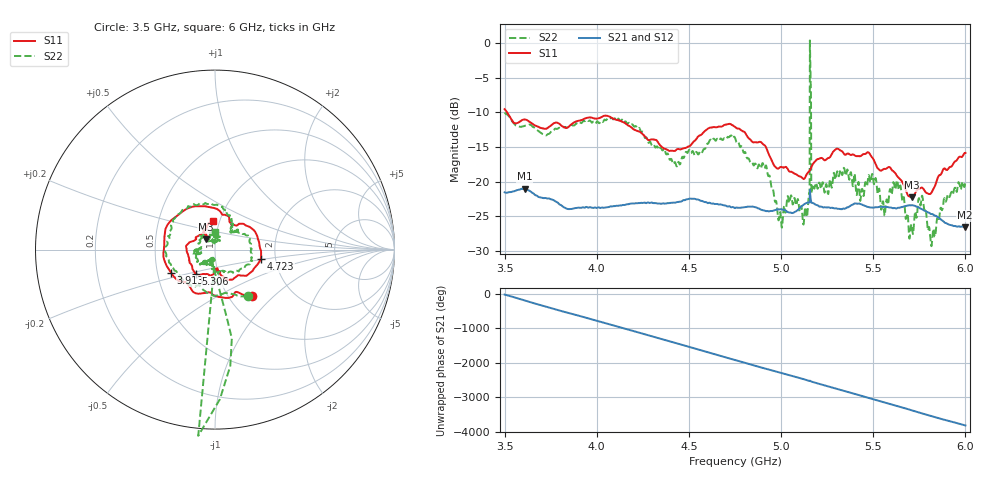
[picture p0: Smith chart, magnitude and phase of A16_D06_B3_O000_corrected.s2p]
! Created with skrf 1.9.0 (http://scikit-rf.org).
# Hz S RI R 50.0
!freq ReS11 ImS11 ReS21 ImS21 ReS12 ImS12 ReS22 ImS22
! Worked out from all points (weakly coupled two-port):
!   1601 points, 3.5 GHz to 6 GHz, reference 50 ohm
!   highest |S21| = -21.04 dB at 3.609 GHz (marker M1); lowest = -26.6 dB at 5.995 GHz (marker M2)
!   lowest |S11| = -22.3 dB at 5.708 GHz (marker M3), VSWR 1.17, Z = 44.9 + j5.2 ohm
!   |S11| at or under -10 dB: 3.513 GHz to end of sweep
!   |S22| runs from -29.3 to 0.4 dB; largest |S21 - S12| = 0.001
!   S11 on the Smith chart (normalised r, x): 3.5 GHz: 1.28, -0.75; 3.913 GHz: 0.59, -0.17; 4.723 GHz: 1.67, -0.19; 5.306 GHz: 0.78, -0.22; 6 GHz: 0.93, +0.31
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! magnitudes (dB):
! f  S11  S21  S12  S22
! 3.5 GHz  -9.6  -21.5  -21.5  -10.1
! 3.609 GHz  -11.0  -21.0  -21.0  -12.0
! 3.913 GHz  -11.2  -23.8  -23.8  -11.5
! 3.917 GHz  -11.1  -23.8  -23.7  -11.5
! 4.334 GHz  -14.4  -23.2  -23.1  -15.3
! 4.442 GHz  -15.3  -22.9  -22.9  -17.2
! 4.723 GHz  -11.7  -23.6  -23.5  -13.4
! 4.75 GHz  -12.1  -23.8  -23.7  -13.7
! 4.912 GHz  -14.8  -24.2  -24.2  -18.0
! 4.997 GHz  -17.9  -24.0  -23.9  -24.7
! 5.045 GHz  -18.6  -24.5  -24.4  -23.1
! 5.131 GHz  -19.4  -23.2  -23.2  -23.7
! 5.167 GHz  -17.7  -23.1  -23.0  -21.0
! 5.177 GHz  -17.3  -23.2  -23.1  -20.8
! 5.306 GHz  -15.3  -23.9  -23.8  -18.5
! 5.584 GHz  -17.9  -23.7  -23.7  -22.5
! 5.639 GHz  -19.5  -23.8  -23.7  -21.2
! 5.708 GHz  -22.3  -23.4  -23.4  -26.2
! 5.758 GHz  -20.9  -23.9  -23.8  -23.3
! 5.823 GHz  -21.2  -24.7  -24.7  -27.4
! 5.995 GHz  -15.9  -26.6  -26.5  -20.7
! 6 GHz  -15.9  -26.5  -26.5  -20.0
